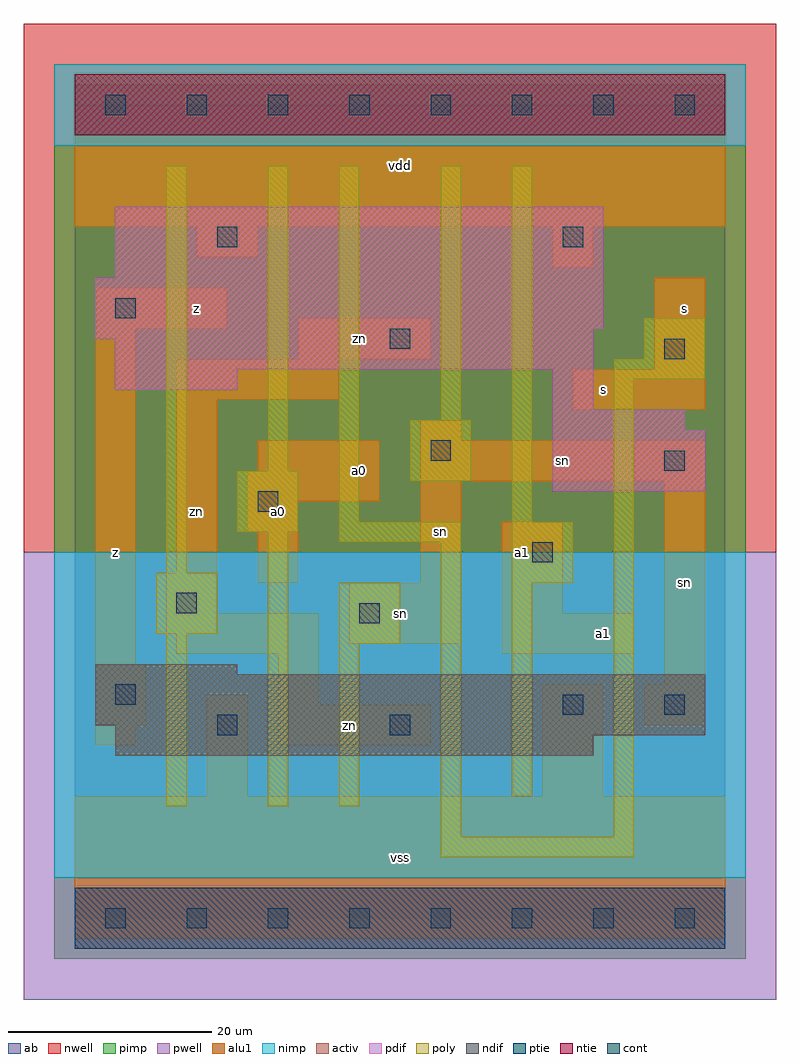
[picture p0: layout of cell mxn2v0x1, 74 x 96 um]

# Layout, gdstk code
import gdstk
lib = gdstk.Library(unit=1e-6, precision=1e-09)
def R(c, l, rs):  # rectangles x0, y0, x1, y1
    for r in rs: c.add(gdstk.rectangle(r[:2], r[2:], *l))
def A(c, l, x, y, w, h, nx, ny, dx, dy):  # array of equal rectangles
    R(c, l, [(x+i*dx, y+j*dy, x+i*dx+w, y+j*dy+h) for i in range(nx) for j in range(ny)])
ndif = (3, 0)
pdif = (4, 0)
ntie = (5, 0)
ptie = (6, 0)
cont = (25, 0)
pwell = (41, 0)
nwell = (42, 0)
activ = (43, 0)
pimp = (44, 0)
nimp = (45, 0)
poly = (46, 0)
alu1 = (49, 0)
ab = (63, 0)

mxn2v0x1 = lib.new_cell('mxn2v0x1')
R(mxn2v0x1, ndif, [(4,16,51,18), (4,18,62,19), (2,19,62,24), (2,24,16,25)])
R(mxn2v0x1, pdif, [(47,42,62,48), (47,48,60,50), (47,50,51,54), (4,52,16,54), (4,54,51,57), (2,57,51,58), (2,58,52,63), (4,63,52,70)])
R(mxn2v0x1, ntie, [(0,77,64,83)])
R(mxn2v0x1, ptie, [(0,-3,64,3)])
A(mxn2v0x1, cont, 3, -1, 2, 2, 8, 2, 8, 80)
R(mxn2v0x1, cont, [(14,18,16,20), (31,18,33,20), (48,20,50,22), (58,20,60,22), (4,21,6,23), (28,29,30,31), (10,30,12,32), (45,35,47,37), (18,40,20,42), (58,44,60,46), (35,45,37,47), (58,55,60,57), (31,56,33,58), (4,59,6,61), (14,66,16,68), (48,66,50,68)])
R(mxn2v0x1, pwell, [(-5,-8,69,36)])
R(mxn2v0x1, nwell, [(-5,36,69,88)])
R(mxn2v0x1, activ, [(0,-3,64,3), (4,16,51,18), (4,18,62,19), (2,19,62,24), (2,24,16,25), (47,42,62,48), (47,48,60,50), (47,50,51,54), (4,52,16,54), (4,54,51,57), (2,57,51,58), (2,58,52,63), (4,63,52,70), (0,77,64,83)])
R(mxn2v0x1, pimp, [(-2,-4,66,4), (-2,36,66,76)])
R(mxn2v0x1, nimp, [(-2,4,66,36), (-2,76,66,84)])
R(mxn2v0x1, poly, [(36,6,55,8), (36,8,38,37), (53,8,55,53), (9,11,11,28), (19,11,21,38), (26,11,28,27), (43,12,45,33), (26,27,32,33), (8,28,14,34), (43,33,49,39), (9,34,11,74), (26,37,38,39), (16,38,22,44), (26,39,28,74), (43,39,45,74), (33,43,39,49), (19,44,21,74), (36,49,38,74), (53,53,62,55), (56,55,62,59)])
R(mxn2v0x1, alu1, [(0,-2,64,12), (13,12,17,22), (46,12,52,23), (2,17,6,19), (20,17,35,21), (2,19,7,25), (56,19,62,23), (20,21,24,26), (58,23,62,43), (2,25,6,58), (10,26,24,28), (42,26,55,30), (27,27,38,33), (9,28,24,30), (9,30,14,34), (42,30,48,39), (18,33,22,38), (34,33,38,43), (10,34,14,51), (17,38,22,41), (17,41,30,44), (34,43,62,47), (18,44,30,47), (34,47,38,49), (49,50,62,54), (10,51,26,55), (57,54,62,63), (22,55,35,59), (2,58,15,62), (47,64,51,68), (12,65,18,68), (0,68,64,82)])
R(mxn2v0x1, ab, [(0,0,64,80)])
mxn2v0x1.add(gdstk.Label('zn', (12,40), layer=49, texttype=0))
mxn2v0x1.add(gdstk.Label('zn', (27,19), layer=49, texttype=0))
mxn2v0x1.add(gdstk.Label('sn', (32,30), layer=49, texttype=0))
mxn2v0x1.add(gdstk.Label('sn', (36,38), layer=49, texttype=0))
mxn2v0x1.add(gdstk.Label('zn', (28,57), layer=49, texttype=0))
mxn2v0x1.add(gdstk.Label('sn', (60,33), layer=49, texttype=0))
mxn2v0x1.add(gdstk.Label('sn', (48,45), layer=49, texttype=0))
mxn2v0x1.add(gdstk.Label('z', (4,36), layer=49, texttype=0))
mxn2v0x1.add(gdstk.Label('z', (12,60), layer=49, texttype=0))
mxn2v0x1.add(gdstk.Label('a0', (28,44), layer=49, texttype=0))
mxn2v0x1.add(gdstk.Label('a0', (20,40), layer=49, texttype=0))
mxn2v0x1.add(gdstk.Label('vss', (32,6), layer=49, texttype=0))
mxn2v0x1.add(gdstk.Label('a1', (44,36), layer=49, texttype=0))
mxn2v0x1.add(gdstk.Label('vdd', (32,74), layer=49, texttype=0))
mxn2v0x1.add(gdstk.Label('a1', (52,28), layer=49, texttype=0))
mxn2v0x1.add(gdstk.Label('s', (52,52), layer=49, texttype=0))
mxn2v0x1.add(gdstk.Label('s', (60,60), layer=49, texttype=0))

lib.write_gds('mxn2v0x1.gds')
